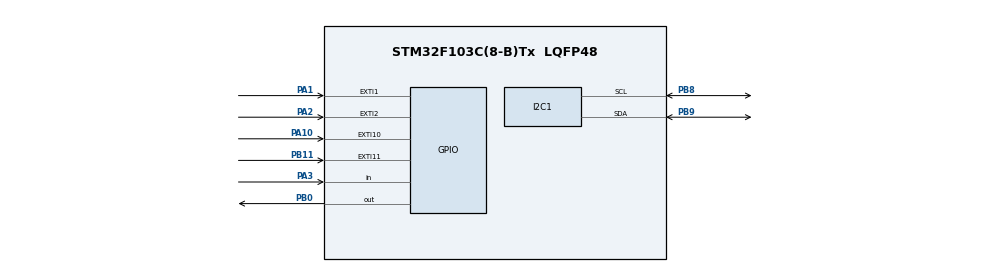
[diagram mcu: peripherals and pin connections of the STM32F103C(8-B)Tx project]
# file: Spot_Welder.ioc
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Mcu.Family=STM32F1
Mcu.Name=STM32F103C(8-B)Tx
Mcu.Package=LQFP48
NVIC.EXTI15_10_IRQn=true\:0\:0\:false\:false\:true\:true\:true
NVIC.EXTI1_IRQn=true\:0\:0\:false\:false\:true\:true\:true
NVIC.EXTI2_IRQn=true\:0\:0\:false\:false\:true\:true\:true
NVIC.PriorityGroup=NVIC_PRIORITYGROUP_4
NVIC.TIM1_CC_IRQn=true\:0\:0\:false\:false\:true\:true\:true
NVIC.TIM2_IRQn=true\:0\:0\:false\:false\:true\:true\:true
PA1.GPIO_ModeDefaultEXTI=GPIO_MODE_IT_FALLING
PA1.GPIO_PuPd=GPIO_PULLUP
PA1.Signal=GPXTI1
PA10.GPIO_ModeDefaultEXTI=GPIO_MODE_IT_RISING
PA10.Signal=GPXTI10
PA13.Mode=Serial_Wire
PA13.Signal=SYS_JTMS-SWDIO
PA14.Mode=Serial_Wire
PA14.Signal=SYS_JTCK-SWCLK
PA2.GPIO_ModeDefaultEXTI=GPIO_MODE_IT_FALLING
PA2.GPIO_PuPd=GPIO_PULLUP
PA2.Signal=GPXTI2
PA3.GPIO_PuPd=GPIO_PULLUP
PA3.Signal=GPIO_Input
PB0.GPIO_PuPd=GPIO_PULLDOWN
PB0.Signal=GPIO_Output
PB11.GPIO_ModeDefaultEXTI=GPIO_MODE_IT_FALLING
PB11.Signal=GPXTI11
PB8.Mode=I2C
PB8.Signal=I2C1_SCL
PB9.Mode=I2C
PB9.Signal=I2C1_SDA
PC14-OSC32_IN.Mode=LSE-External-Oscillator
PC14-OSC32_IN.Signal=RCC_OSC32_IN
PC15-OSC32_OUT.Mode=LSE-External-Oscillator
PC15-OSC32_OUT.Signal=RCC_OSC32_OUT
PD0-OSC_IN.Mode=HSE-External-Oscillator
PD0-OSC_IN.Signal=RCC_OSC_IN
PD1-OSC_OUT.Mode=HSE-External-Oscillator
PD1-OSC_OUT.Signal=RCC_OSC_OUT
ProjectManager.HeapSize=0x200
ProjectManager.StackSize=0x400
ProjectManager.TargetToolchain=MDK-ARM V5.27
RCC.APB1Freq_Value=8000000
RCC.APB2Freq_Value=8000000
TIM1.Channel-Output\ Compare1\ No\ Output=TIM_CHANNEL_1
TIM1.Period=89
TIM1.Prescaler=799
TIM1.Pulse-Output\ Compare1\ No\ Output=45
TIM2.Period=499
TIM2.Prescaler=7999
VP_TIM1_VS_ClockSourceINT.Mode=Internal
VP_TIM1_VS_OPM.Mode=OPM_bit
VP_TIM1_VS_no_output1.Mode=Output Compare1 No Output
VP_TIM2_VS_ClockSourceINT.Mode=Internal
board=custom

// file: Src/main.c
/* USER CODE BEGIN Header */
/**
  ******************************************************************************
  * @file           : main.c
  * @brief          : Main program body
  ******************************************************************************
  * @attention
  *
  * <h2><center>&copy; Copyright (c) 2020 STMicroelectronics.
  * All rights reserved.</center></h2>
  *
  * This software component is licensed by ST under BSD 3-Clause license,
  * the "License"; You may not use this file except in compliance with the
  * License. You may obtain a copy of the License at:
  *                        opensource.org/licenses/BSD-3-Clause
  *
  ******************************************************************************
  */
/* USER CODE END Header */

#include "main.h"

/* USER CODE BEGIN Includes */

#include "ssd1306.h"
#include "fonts.h"

/* USER CODE END Includes */

I2C_HandleTypeDef hi2c1;

TIM_HandleTypeDef htim1;
TIM_HandleTypeDef htim2;

void SystemClock_Config(void);
static void MX_GPIO_Init(void);
static void MX_I2C1_Init(void);
static void MX_TIM1_Init(void);
static void MX_TIM2_Init(void);

/* USER CODE BEGIN 0 */

int zero_detect_flag = 0;								// Флаг прерывания детектора нуля
int zero_detect_flag_status = 0;				// Флаг прерываня в таймере 500 мс

char str[10];														// Буфер для отображения скважности и времени
char str2[10];

int encoder_A = 0;											// Переменная для обработки энкодера

int display_change_flag = 1;						// Флаг изменений	на дисплее
int select_value_by_encoder = 0;				// Выбор меню

int fire_flag = 0;											// Флаг сварки (включает число оставшихся циклов сварки)

int duty_cycle = 70;										// Скважность
int duration = 10;											// Продолжительность (Циклов сварки)

/*Callback по сравнению таймера (от 1.0 до 9.0 мс)*/
/*! �?спользуется режим "One Pulse Mode" В этом режиме таймер отключается после первого срабатывания до
Counter Period и его снова можно начинать*/

void HAL_TIM_OC_DelayElapsedCallback(TIM_HandleTypeDef *htim)
{
        if(htim->Instance == TIM1)
        {
            HAL_GPIO_WritePin(GPIOB, GPIO_PIN_0, GPIO_PIN_RESET);
//						HAL_TIM_OC_Stop_IT(&htim1, TIM_CHANNEL_1);
        }

}

// Перевод int to char[]

#include <string.h>

 void reverse(char s[])
 {
     int i, j;
     char c;

     for (i = 0, j = strlen(s)-1; i<j; i++, j--) {
         c = s[i];
         s[i] = s[j];
         s[j] = c;
     }
 }

 void itoa(int n, char s[])
 {
     int i, sign;

     if ((sign = n) < 0)
         n = -n;
     i = 0;
     do {
         s[i++] = n % 10 + '0';
     } while ((n /= 10) > 0);
     if (sign < 0)
         s[i++] = '-';
     s[i] = '\0';
     reverse(s);
 }

 // Функция обновления дисплея. Находится в бесконечном цикле, срабатывает при правильном флаге
 void display_update() {

		if (display_change_flag == 1) {

		display_change_flag = 0;

		itoa(duration, str);
		itoa(duty_cycle, str2);

		ssd1306_Fill(Black);

		if (select_value_by_encoder == 0) {
			ssd1306_DrawPixel(120, 4, White);
			ssd1306_DrawPixel(121, 4, White);
			ssd1306_DrawPixel(119, 4, White);
			ssd1306_DrawPixel(120, 3, White);
			ssd1306_DrawPixel(120, 5, White);
		} else {
			ssd1306_DrawPixel(120, 13, White);
			ssd1306_DrawPixel(121, 13, White);
			ssd1306_DrawPixel(119, 13, White);
			ssd1306_DrawPixel(120, 12, White);
			ssd1306_DrawPixel(120, 14, White);
		}

		ssd1306_SetCursor(5,0);
		ssd1306_WriteString("Time: ", Font_7x10, White);

		ssd1306_SetCursor(40,0);
		ssd1306_WriteString(str, Font_7x10, White);

		if (duration < 10) {
			ssd1306_SetCursor(48,0);
			ssd1306_WriteString("ms", Font_7x10, White);
		}

		if ((duration > 9) && (duration < 100)) {
			ssd1306_SetCursor(56,0);
			ssd1306_WriteString("ms", Font_7x10, White);
		}

		if (duration > 99) {
			ssd1306_SetCursor(64,0);
			ssd1306_WriteString("ms", Font_7x10, White);
		}

		ssd1306_SetCursor(5,10);
		ssd1306_WriteString("Duty cycle:", Font_7x10, White);

		ssd1306_SetCursor(82,10);
		ssd1306_WriteString(str2, Font_7x10, White);

		if (duty_cycle == 100) {
			ssd1306_SetCursor(106,10);
			ssd1306_WriteString("%", Font_7x10, White);
		} else {
			ssd1306_SetCursor(98,10);
			ssd1306_WriteString("%", Font_7x10, White);
		}

		if (zero_detect_flag_status == 0) {

		ssd1306_SetCursor(20,21);
		ssd1306_WriteString("-NO PULSES-", Font_7x10, White);
		}

		ssd1306_UpdateScreen();

		}
}

// Callback по переполнению таймера (500 мс) для отслеживания нуля
void HAL_TIM_PeriodElapsedCallback(TIM_HandleTypeDef *htim) {
    if(htim->Instance == TIM2) {

				if (zero_detect_flag == 1) {
					zero_detect_flag_status = 1;
				} else {
					zero_detect_flag_status = 0;
					fire_flag = 0;
				}

				zero_detect_flag = 0;
    display_change_flag = 1;
		}
}

/* USER CODE END 0 */

int main(void)
{

  /* MCU Configuration--------------------------------------------------------*/

  /* Reset of all peripherals, Initializes the Flash interface and the Systick. */
  HAL_Init();

  /* Configure the system clock */
  SystemClock_Config();

  /* Initialize all configured peripherals */
  MX_GPIO_Init();
  MX_I2C1_Init();
  MX_TIM1_Init();
  MX_TIM2_Init();
  /* USER CODE BEGIN 2 */

	HAL_TIM_Base_Start_IT(&htim2);

	ssd1306_Init();

  ssd1306_UpdateScreen();

  /* USER CODE END 2 */

  /* Infinite loop */
  /* USER CODE BEGIN WHILE */
  while (1)
  {

	display_update();

    /* USER CODE END WHILE */

  }
}

void SystemClock_Config(void)
{
  RCC_OscInitTypeDef RCC_OscInitStruct = {0};
  RCC_ClkInitTypeDef RCC_ClkInitStruct = {0};

  /** Initializes the CPU, AHB and APB busses clocks
  */
  RCC_OscInitStruct.OscillatorType = RCC_OSCILLATORTYPE_HSI;
  RCC_OscInitStruct.HSIState = RCC_HSI_ON;
  RCC_OscInitStruct.HSICalibrationValue = RCC_HSICALIBRATION_DEFAULT;
  RCC_OscInitStruct.PLL.PLLState = RCC_PLL_NONE;
  if (HAL_RCC_OscConfig(&RCC_OscInitStruct) != HAL_OK)
  {
    Error_Handler();
  }
  /** Initializes the CPU, AHB and APB busses clocks
  */
  RCC_ClkInitStruct.ClockType = RCC_CLOCKTYPE_HCLK|RCC_CLOCKTYPE_SYSCLK
                              |RCC_CLOCKTYPE_PCLK1|RCC_CLOCKTYPE_PCLK2;
  RCC_ClkInitStruct.SYSCLKSource = RCC_SYSCLKSOURCE_HSI;
  RCC_ClkInitStruct.AHBCLKDivider = RCC_SYSCLK_DIV1;
  RCC_ClkInitStruct.APB1CLKDivider = RCC_HCLK_DIV1;
  RCC_ClkInitStruct.APB2CLKDivider = RCC_HCLK_DIV1;

  if (HAL_RCC_ClockConfig(&RCC_ClkInitStruct, FLASH_LATENCY_0) != HAL_OK)
  {
    Error_Handler();
  }
}

static void MX_I2C1_Init(void)
{

  hi2c1.Instance = I2C1;
  hi2c1.Init.ClockSpeed = 100000;
  hi2c1.Init.DutyCycle = I2C_DUTYCYCLE_2;
  hi2c1.Init.OwnAddress1 = 0;
  hi2c1.Init.AddressingMode = I2C_ADDRESSINGMODE_7BIT;
  hi2c1.Init.DualAddressMode = I2C_DUALADDRESS_DISABLE;
  hi2c1.Init.OwnAddress2 = 0;
  hi2c1.Init.GeneralCallMode = I2C_GENERALCALL_DISABLE;
  hi2c1.Init.NoStretchMode = I2C_NOSTRETCH_DISABLE;
  if (HAL_I2C_Init(&hi2c1) != HAL_OK)
  {
    Error_Handler();
  }

}

static void MX_TIM1_Init(void)
{

  TIM_ClockConfigTypeDef sClockSourceConfig = {0};
  TIM_MasterConfigTypeDef sMasterConfig = {0};
  TIM_OC_InitTypeDef sConfigOC = {0};
  TIM_BreakDeadTimeConfigTypeDef sBreakDeadTimeConfig = {0};

  htim1.Instance = TIM1;
  htim1.Init.Prescaler = 799;
  htim1.Init.CounterMode = TIM_COUNTERMODE_UP;
  htim1.Init.Period = 89;
  htim1.Init.ClockDivision = TIM_CLOCKDIVISION_DIV1;
  htim1.Init.RepetitionCounter = 0;
  htim1.Init.AutoReloadPreload = TIM_AUTORELOAD_PRELOAD_DISABLE;
  if (HAL_TIM_Base_Init(&htim1) != HAL_OK)
  {
    Error_Handler();
  }
  sClockSourceConfig.ClockSource = TIM_CLOCKSOURCE_INTERNAL;
  if (HAL_TIM_ConfigClockSource(&htim1, &sClockSourceConfig) != HAL_OK)
  {
    Error_Handler();
  }
  if (HAL_TIM_OC_Init(&htim1) != HAL_OK)
  {
    Error_Handler();
  }
  if (HAL_TIM_OnePulse_Init(&htim1, TIM_OPMODE_SINGLE) != HAL_OK)
  {
    Error_Handler();
  }
  sMasterConfig.MasterOutputTrigger = TIM_TRGO_RESET;
  sMasterConfig.MasterSlaveMode = TIM_MASTERSLAVEMODE_DISABLE;
  if (HAL_TIMEx_MasterConfigSynchronization(&htim1, &sMasterConfig) != HAL_OK)
  {
    Error_Handler();
  }
  sConfigOC.OCMode = TIM_OCMODE_TIMING;
  sConfigOC.Pulse = 45;
  sConfigOC.OCPolarity = TIM_OCPOLARITY_HIGH;
  sConfigOC.OCNPolarity = TIM_OCNPOLARITY_HIGH;
  sConfigOC.OCFastMode = TIM_OCFAST_DISABLE;
  sConfigOC.OCIdleState = TIM_OCIDLESTATE_RESET;
  sConfigOC.OCNIdleState = TIM_OCNIDLESTATE_RESET;
  if (HAL_TIM_OC_ConfigChannel(&htim1, &sConfigOC, TIM_CHANNEL_1) != HAL_OK)
  {
    Error_Handler();
  }
  sBreakDeadTimeConfig.OffStateRunMode = TIM_OSSR_DISABLE;
  sBreakDeadTimeConfig.OffStateIDLEMode = TIM_OSSI_DISABLE;
  sBreakDeadTimeConfig.LockLevel = TIM_LOCKLEVEL_OFF;
  sBreakDeadTimeConfig.DeadTime = 0;
  sBreakDeadTimeConfig.BreakState = TIM_BREAK_DISABLE;
  sBreakDeadTimeConfig.BreakPolarity = TIM_BREAKPOLARITY_HIGH;
  sBreakDeadTimeConfig.AutomaticOutput = TIM_AUTOMATICOUTPUT_DISABLE;
  if (HAL_TIMEx_ConfigBreakDeadTime(&htim1, &sBreakDeadTimeConfig) != HAL_OK)
  {
    Error_Handler();
  }

}

static void MX_TIM2_Init(void)
{

  TIM_ClockConfigTypeDef sClockSourceConfig = {0};
  TIM_MasterConfigTypeDef sMasterConfig = {0};

  htim2.Instance = TIM2;
  htim2.Init.Prescaler = 7999;
  htim2.Init.CounterMode = TIM_COUNTERMODE_UP;
  htim2.Init.Period = 499;
  htim2.Init.ClockDivision = TIM_CLOCKDIVISION_DIV1;
  htim2.Init.AutoReloadPreload = TIM_AUTORELOAD_PRELOAD_DISABLE;
  if (HAL_TIM_Base_Init(&htim2) != HAL_OK)
  {
    Error_Handler();
  }
  sClockSourceConfig.ClockSource = TIM_CLOCKSOURCE_INTERNAL;
  if (HAL_TIM_ConfigClockSource(&htim2, &sClockSourceConfig) != HAL_OK)
  {
    Error_Handler();
  }
  sMasterConfig.MasterOutputTrigger = TIM_TRGO_RESET;
  sMasterConfig.MasterSlaveMode = TIM_MASTERSLAVEMODE_DISABLE;
  if (HAL_TIMEx_MasterConfigSynchronization(&htim2, &sMasterConfig) != HAL_OK)
  {
    Error_Handler();
  }

}

static void MX_GPIO_Init(void)
{
  GPIO_InitTypeDef GPIO_InitStruct = {0};

  /* GPIO Ports Clock Enable */
  __HAL_RCC_GPIOC_CLK_ENABLE();
  __HAL_RCC_GPIOD_CLK_ENABLE();
  __HAL_RCC_GPIOA_CLK_ENABLE();
  __HAL_RCC_GPIOB_CLK_ENABLE();

  /*Configure GPIO pin Output Level */
  HAL_GPIO_WritePin(GPIOB, GPIO_PIN_0, GPIO_PIN_RESET);

  /*Configure GPIO pins : PA1 PA2 */
  GPIO_InitStruct.Pin = GPIO_PIN_1|GPIO_PIN_2;
  GPIO_InitStruct.Mode = GPIO_MODE_IT_FALLING;
  GPIO_InitStruct.Pull = GPIO_PULLUP;
  HAL_GPIO_Init(GPIOA, &GPIO_InitStruct);

  /*Configure GPIO pin : PA3 */
  GPIO_InitStruct.Pin = GPIO_PIN_3;
  GPIO_InitStruct.Mode = GPIO_MODE_INPUT;
  GPIO_InitStruct.Pull = GPIO_PULLUP;
  HAL_GPIO_Init(GPIOA, &GPIO_InitStruct);

  /*Configure GPIO pin : PB0 */
  GPIO_InitStruct.Pin = GPIO_PIN_0;
  GPIO_InitStruct.Mode = GPIO_MODE_OUTPUT_PP;
  GPIO_InitStruct.Pull = GPIO_PULLDOWN;
  GPIO_InitStruct.Speed = GPIO_SPEED_FREQ_LOW;
  HAL_GPIO_Init(GPIOB, &GPIO_InitStruct);

  /*Configure GPIO pin : PB11 */
  GPIO_InitStruct.Pin = GPIO_PIN_11;
  GPIO_InitStruct.Mode = GPIO_MODE_IT_FALLING;
  GPIO_InitStruct.Pull = GPIO_NOPULL;
  HAL_GPIO_Init(GPIOB, &GPIO_InitStruct);

  /*Configure GPIO pin : PA10 */
  GPIO_InitStruct.Pin = GPIO_PIN_10;
  GPIO_InitStruct.Mode = GPIO_MODE_IT_RISING;
  GPIO_InitStruct.Pull = GPIO_NOPULL;
  HAL_GPIO_Init(GPIOA, &GPIO_InitStruct);

  /* EXTI interrupt init*/
  HAL_NVIC_SetPriority(EXTI1_IRQn, 0, 0);
  HAL_NVIC_EnableIRQ(EXTI1_IRQn);

  HAL_NVIC_SetPriority(EXTI2_IRQn, 0, 0);
  HAL_NVIC_EnableIRQ(EXTI2_IRQn);

  HAL_NVIC_SetPriority(EXTI15_10_IRQn, 0, 0);
  HAL_NVIC_EnableIRQ(EXTI15_10_IRQn);

}

/* USER CODE BEGIN 4 */

int led_state = 0;

void HAL_GPIO_EXTI_Callback(uint16_t GPIO_Pin)

{

	// Обработка прерывания по FALLING PA2 - Кнопка энкодера

  if (GPIO_Pin == GPIO_PIN_2) {

	display_change_flag = 1;

	if (select_value_by_encoder == 0) {
		select_value_by_encoder = 1;
	} else
	select_value_by_encoder = 0;

  } else {

    __NOP();

  }

	// Обработка прерывания по FALLING PA1 - Поворот энкодера

	if (GPIO_Pin == GPIO_PIN_1) {
		encoder_A++;

		if (select_value_by_encoder == 0) {
			if (HAL_GPIO_ReadPin(GPIOA, GPIO_PIN_3)) {

				if (duration > 10)
						duration = duration - 10;

			} else {

					if (duration < 990)
						duration = duration + 10;

			}

		} else {

			if (HAL_GPIO_ReadPin(GPIOA, GPIO_PIN_3)) {
				if (duty_cycle > 10)
				duty_cycle = duty_cycle - 5;
			} else {
				if (duty_cycle < 90)
				duty_cycle = duty_cycle + 5;
			}

		}

	display_change_flag = 1;

	} else {

    __NOP();

  }

	// Обработка прерывания по FALLING PA10 - Детектор НУЛЯ

	if (GPIO_Pin == GPIO_PIN_10) {

		zero_detect_flag = 1;

		if (fire_flag > 0) {

			TIM1->CCR1 = duty_cycle;

			HAL_TIM_OC_Start_IT(&htim1, TIM_CHANNEL_1);
			HAL_GPIO_WritePin(GPIOB, GPIO_PIN_0, GPIO_PIN_SET);

			fire_flag--;

		}

	}	else {

    __NOP();

  }

	// Обработка прерывания по FALLING PB11 - Кнопка "сварки"

		if (GPIO_Pin == GPIO_PIN_11) {

		display_change_flag = 1;
		fire_flag = duration / 10;

	}	else {

    __NOP();

  }

}

/* USER CODE END 4 */

void Error_Handler(void)
{
}

/************************ (C) COPYRIGHT STMicroelectronics *****END OF FILE****/
